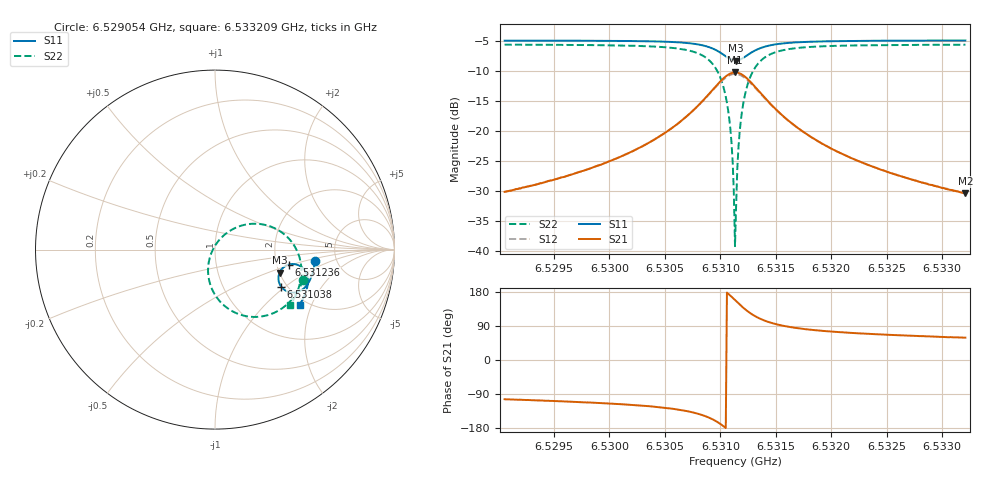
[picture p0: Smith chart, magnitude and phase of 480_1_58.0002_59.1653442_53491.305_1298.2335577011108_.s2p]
#  HZ  S  RI  R  50.00
! Rohde & Schwarz Vector Network Analyzer
! Rohde-Schwarz,ZNB20-2Port,1311601062101988,3.16
! Created: UTC 3/21/2024, 1:11:49 AM
! freq[Hz]  re:S11  im:S11  re:S21  im:S21  re:S12  im:S12  re:S22  im:S22
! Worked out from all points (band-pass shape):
!   401 points, 6.529054 GHz to 6.533209 GHz, reference 50 ohm
!   highest |S21| = -10.30 dB at 6.531132 GHz (marker M1); lowest = -30.4 dB at 6.533209 GHz (marker M2)
!   |S21| within 3 dB of the highest: 6.530926 GHz to 6.531341 GHz (415.8 kHz wide, 0.00637 % of centre)
!   lowest |S11| = -8.4 dB at 6.531142 GHz (marker M3), VSWR 2.24, Z = 100 - j30.1 ohm
!   |S11| at or under -10 dB: nowhere
!   |S22| runs from -39.2 to -5.7 dB; largest |S21 - S12| = 0.012
!   S11 on the Smith chart (normalised r, x): 6.529054 GHz: 3.43, -0.64; 6.531038 GHz: 1.86, -0.93; 6.531236 GHz: 2.33, -0.47; 6.533209 GHz: 1.82, -1.64
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6.5290543e9  0.5572 -0.0637  -0.00722 -0.0301  -0.00773 -0.03  0.4914 -0.1675
6.5297503e9  0.5466 -0.1214  -0.0167 -0.043  -0.0176 -0.0425  0.4607 -0.2321
6.5304463e9  0.5176 -0.19  -0.0504 -0.0734  -0.0523 -0.0721  0.3796 -0.3229
6.5306852e9  0.4907 -0.2197  -0.0899 -0.0925  -0.0925 -0.0896  0.2994 -0.3635
6.5308618e9  0.4471 -0.2385  -0.1576 -0.0987  -0.1598 -0.0925  0.1737 -0.3709
6.5309657e9  0.4027 -0.233  -0.2265 -0.0724  -0.2259 -0.063  0.0564 -0.3162
6.5310384e9  0.3682 -0.2057  -0.2775 -0.0141  -0.2717 -0.0045  -0.021 -0.2101
6.5310799e9  0.3555 -0.1779  -0.2933 0.0384  -0.2845 0.0463  -0.0388 -0.12
6.5311007e9  0.3535 -0.1616  -0.2938 0.0683  -0.2839 0.0745  -0.0349 -0.0706
6.5311111e9  0.3537 -0.1533  -0.2919 0.0834  -0.2816 0.0888  -0.0293 -0.0459
6.5311215e9  0.3547 -0.1447  -0.2885 0.0986  -0.2778 0.103  -0.0214 -0.0216
6.5311319e9  0.3569 -0.1365  -0.2835 0.1133  -0.2728 0.1169  -0.0108 0.00188
6.5311423e9  0.3597 -0.1286  -0.2771 0.1276  -0.2664 0.13  0.00185 0.0241
6.5311526e9  0.3635 -0.1208  -0.2696 0.1411  -0.2589 0.1426  0.0166 0.0451
6.531163e9  0.3679 -0.1136  -0.2605 0.1536  -0.2501 0.1542  0.0333 0.0643
6.5311838e9  0.3789 -0.1013  -0.2397 0.1753  -0.2302 0.1743  0.071 0.0967
6.5312357e9  0.4119 -0.0831  -0.1794 0.2074  -0.1728 0.2043  0.1757 0.1404
6.5313085e9  0.4548 -0.0834  -0.1041 0.2094  -0.1008 0.2063  0.3025 0.1312
6.5314123e9  0.492 -0.1061  -0.0394 0.1783  -0.0378 0.1766  0.4082 0.0645
6.5318278e9  0.5174 -0.186  0.016 0.0859  0.0169 0.0856  0.4818 -0.1278
6.5325238e9  0.4978 -0.2572  0.0179 0.041  0.0186 0.041  0.4538 -0.245
6.5332094e9  0.4711 -0.3081  0.0156 0.0259  0.016 0.0255  0.4191 -0.3059
